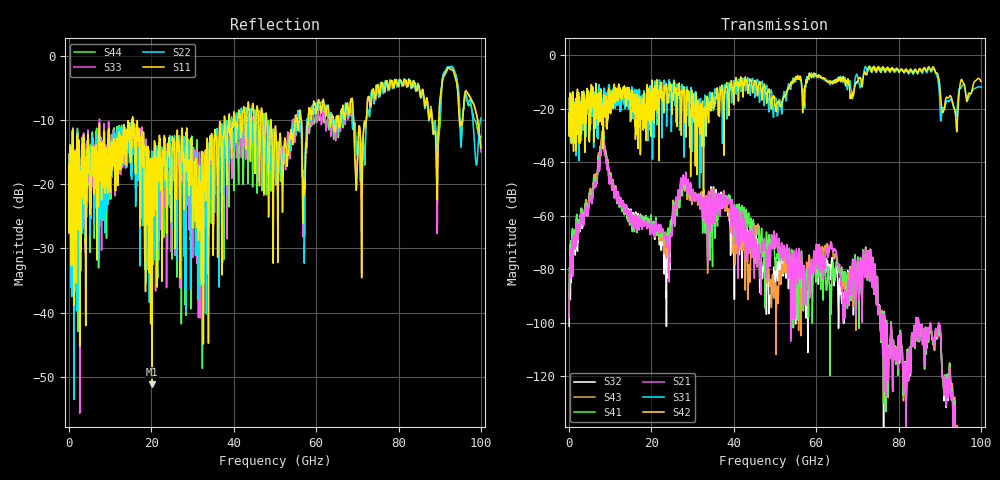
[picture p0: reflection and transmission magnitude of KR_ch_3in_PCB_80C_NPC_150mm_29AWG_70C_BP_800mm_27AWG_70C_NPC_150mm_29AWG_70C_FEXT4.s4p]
# GHz S RI R 45
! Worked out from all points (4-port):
!   4000 points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, 25 MHz to 100 GHz, reference 45 ohm
!   strongest paths, dB at 25 MHz, 25.02 GHz, 50.02 GHz, 75.03 GHz, 100 GHz:
!     S42: -21.8, -20.6, -18.8, -4.2, -9.7
!     S31: -21.7, -12.4, -15.9, -5.0, -11.8
!     S21: -98.1, -65.0, -71.4, -95.7, -174.9
!     S41: -90.3, -61.1, -78.9, -95.7, -179.4
!     S43: -97.2, -61.2, -85.3, -95.5, -180.8
!     S32: -101.4, -62.1, -85.2, -95.4, -173.4
!   lowest |S11| = -51.2 dB at 20.2 GHz (marker M1), VSWR 1.01, Z = 45.1 - j0.215 ohm
!   |S11| at or under -10 dB: start of sweep to 15.35 GHz; 15.48 GHz to 37.69 GHz (22.21 GHz wide, 83.6 % of centre); 48.99 GHz to 54.9 GHz (5.906 GHz wide, 11.4 % of centre) (the widest 3 of 25)
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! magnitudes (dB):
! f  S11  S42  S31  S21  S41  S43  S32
! 25 MHz  -17.2  -21.8  -21.7  -98.1  -90.3  -97.2  -101.4
! 8.1 GHz  -13.5  -18.8  -19.0  -32.0  -30.3  -28.3  -29.9
! 20.2 GHz  -51.2  -9.2  -14.2  -66.0  -66.5  -65.9  -65.6
! 23.5 GHz  -17.6  -11.9  -13.9  -69.4  -68.3  -71.0  -78.9
! 28.05 GHz  -19.8  -15.9  -19.4  -48.1  -49.4  -50.6  -49.5
! 46.73 GHz  -8.1  -13.6  -10.4  -71.3  -65.0  -68.1  -77.0
! 100 GHz  -14.3  -9.7  -11.8  -174.9  -179.4  -180.8  -173.4
